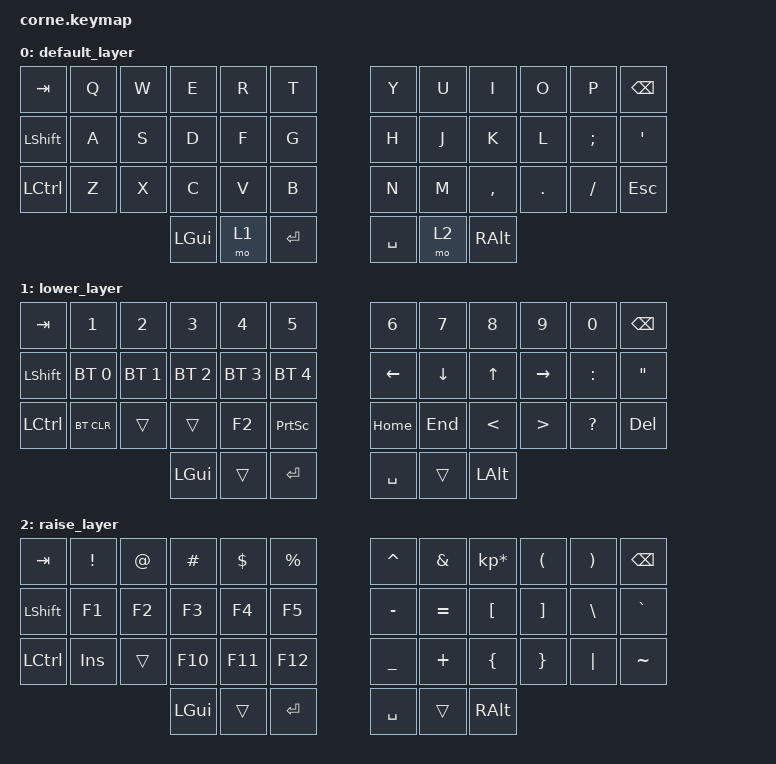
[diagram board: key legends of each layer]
/*
 * Copyright (c) 2020 The ZMK Contributors
 *
 * SPDX-License-Identifier: MIT
 */

#include <behaviors.dtsi>
#include <dt-bindings/zmk/bt.h>
#include <dt-bindings/zmk/keys.h>

/ {
    keymap {
        compatible = "zmk,keymap";

        default_layer {
            // -----------------------------------------------------------------------------------------
            // |  TAB |  Q  |  W  |  E  |  R  |  T  |   |  Y  |  U   |  I  |  O  |  P  | BKSP |
            // | CTRL |  A  |  S  |  D  |  F  |  G  |   |  H  |  J   |  K  |  L  |  ;  |  '   |
            // | SHFT |  Z  |  X  |  C  |  V  |  B  |   |  N  |  M   |  ,  |  .  |  /  | ESC  |
            //                    | GUI | LWR | SPC |   | ENT | RSE  | ALT |

            bindings = <
&kp TAB           &kp Q  &kp W  &kp E     &kp R  &kp T        &kp Y      &kp U  &kp I      &kp O    &kp P     &kp BSPC
&kp LEFT_SHIFT    &kp A  &kp S  &kp D     &kp F  &kp G        &kp H      &kp J  &kp K      &kp L    &kp SEMI  &kp SQT
&kp LEFT_CONTROL  &kp Z  &kp X  &kp C     &kp V  &kp B        &kp N      &kp M  &kp COMMA  &kp DOT  &kp FSLH  &kp ESC
                                &kp LGUI  &mo 1  &kp ENTER    &kp SPACE  &mo 2  &kp RALT
            >;
        };

        lower_layer {
            // -----------------------------------------------------------------------------------------
            // |  TAB |  1  |  2  |  3  |  4  |  5  |   |  6  |  7  |  8  |  9  |  0  | BKSP |
            // | BTCLR| BT1 | BT2 | BT3 | BT4 | BT5 |   | LFT | DWN |  UP | RGT |     |      |
            // | SHFT |     |     |     |     |     |   |     |     |     |     |     |      |
            //                    | GUI |     | SPC |   | ENT |     | ALT |

            bindings = <
&kp TAB           &kp N1        &kp N2        &kp N3        &kp N4        &kp N5             &kp N6     &kp N7    &kp N8         &kp N9            &kp N0        &kp BSPC
&kp LEFT_SHIFT    &bt BT_SEL 0  &bt BT_SEL 1  &bt BT_SEL 2  &bt BT_SEL 3  &bt BT_SEL 4       &kp LEFT   &kp DOWN  &kp UP         &kp RIGHT         &kp COLON     &kp DOUBLE_QUOTES
&kp LEFT_CONTROL  &bt BT_CLR    &trans        &trans        &kp F2        &kp PRINTSCREEN    &kp HOME   &kp END   &kp LESS_THAN  &kp GREATER_THAN  &kp QUESTION  &kp DELETE
                                              &kp LGUI      &trans        &kp ENTER          &kp SPACE  &trans    &kp LEFT_ALT
            >;
        };

        raise_layer {
            // -----------------------------------------------------------------------------------------
            // |  TAB |  !  |  @  |  #  |  $  |  %  |   |  ^  |  &  |  *  |  (  |  )  | BKSP |
            // | CTRL |     |     |     |     |     |   |  -  |  =  |  [  |  ]  |  \  |  `   |
            // | SHFT |     |     |     |     |     |   |  _  |  +  |  {  |  }  | "|" |  ~   |
            //                    | GUI |     | SPC |   | ENT |     | ALT |

            bindings = <
&kp TAB           &kp EXCL    &kp AT  &kp HASH  &kp DLLR  &kp PRCNT    &kp CARET  &kp AMPS   &kp KP_MULTIPLY  &kp LPAR  &kp RPAR  &kp BSPC
&kp LEFT_SHIFT    &kp F1      &kp F2  &kp F3    &kp F4    &kp F5       &kp MINUS  &kp EQUAL  &kp LBKT         &kp RBKT  &kp BSLH  &kp GRAVE
&kp LEFT_CONTROL  &kp INSERT  &trans  &kp F10   &kp F11   &kp F12      &kp UNDER  &kp PLUS   &kp LBRC         &kp RBRC  &kp PIPE  &kp TILDE
                                      &kp LGUI  &trans    &kp ENTER    &kp SPACE  &trans     &kp RALT
            >;
        };
    };
};
